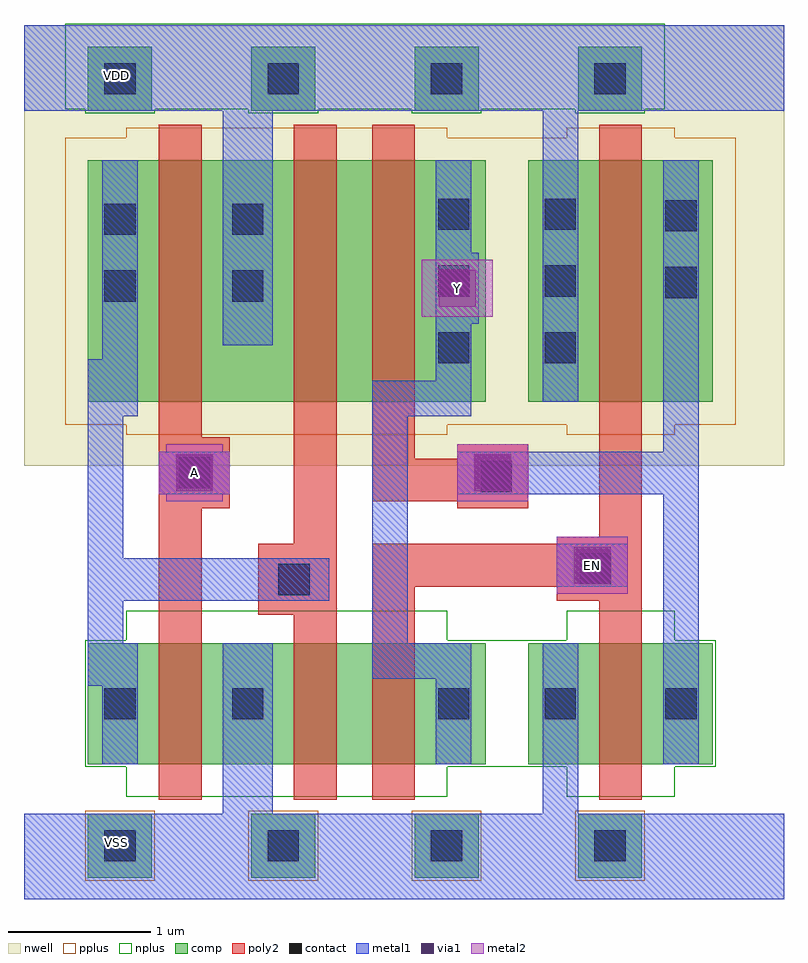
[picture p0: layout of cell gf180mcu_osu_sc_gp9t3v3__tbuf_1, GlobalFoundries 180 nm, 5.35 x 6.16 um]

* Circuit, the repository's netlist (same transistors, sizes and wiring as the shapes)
* Copyright 2022 Google LLC
*
* Licensed under the Apache License, Version 2.0 (the "License");
* you may not use this file except in compliance with the License.
* You may obtain a copy of the License at
*
*      http://www.apache.org/licenses/LICENSE-2.0
*
* Unless required by applicable law or agreed to in writing, software
* distributed under the License is distributed on an "AS IS" BASIS,
* WITHOUT WARRANTIES OR CONDITIONS OF ANY KIND, either express or implied.
* See the License for the specific language governing permissions and
* limitations under the License.

.inc "/import/yukari1/lrburle/OSU_180/char/techfiles/design.hspice"
.lib "/import/yukari1/lrburle/OSU_180/char/techfiles/sm141064.hspice" typical

.GLOBAL VDD
.GLOBAL VSS

.option scale=0.05u

.subckt gf180mcu_osu_sc_gp9t3v3__tbuf_1 A Y EN
X0 Y a_49_56 a_44_70 VDD pmos_3p3 w=34 l=6
X1 a_49_56 EN VDD VDD pmos_3p3 w=34 l=6
X2 VSS A a_9_19 VSS nmos_3p3 w=17 l=6
X3 VDD A a_9_19 VDD pmos_3p3 w=34 l=6
X4 a_44_19 a_9_19 VSS VSS nmos_3p3 w=17 l=6
X5 a_44_70 a_9_19 VDD VDD pmos_3p3 w=34 l=6
X6 Y EN a_44_19 VSS nmos_3p3 w=17 l=6
X7 a_49_56 EN VSS VSS nmos_3p3 w=17 l=6
.ends

** hspice subcircuit dictionary

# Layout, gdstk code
import gdstk
lib = gdstk.Library(unit=1e-6, precision=1e-09)
def R(c, l, rs):  # rectangles x0, y0, x1, y1
    for r in rs: c.add(gdstk.rectangle(r[:2], r[2:], *l))
def A(c, l, x, y, w, h, nx, ny, dx, dy):  # array of equal rectangles
    R(c, l, [(x+i*dx, y+j*dy, x+i*dx+w, y+j*dy+h) for i in range(nx) for j in range(ny)])
nwell = (21, 0)
comp = (22, 0)
poly2 = (30, 0)
pplus = (31, 0)
nplus = (32, 0)
contact = (33, 0)
metal1 = (34, 0)
via1 = (35, 0)
metal2 = (36, 0)

gf180mcu_osu_sc_gp9t3v3_ = lib.new_cell('gf180mcu_osu_sc_gp9t3v3__tbuf_1')
R(gf180mcu_osu_sc_gp9t3v3_, nwell, [(0,3.05,5.35,6.15)])
A(gf180mcu_osu_sc_gp9t3v3_, comp, 0.45, 0.15, 0.45, 0.45, 4, 2, 1.15, 5.4)
R(gf180mcu_osu_sc_gp9t3v3_, comp, [(0.45,0.95,3.25,1.8), (3.55,0.95,4.85,1.8), (0.45,3.5,3.25,5.2), (3.55,3.5,4.85,5.2)])
R(gf180mcu_osu_sc_gp9t3v3_, poly2, [(0.95,0.7,1.25,2.75), (1.9,0.7,2.2,2), (2.45,0.7,2.75,2.2), (4.05,0.7,4.35,2.1), (1.65,2,2.2,2.5), (3.75,2.1,4.35,2.2), (2.45,2.2,4.35,2.5), (1.9,2.5,2.2,5.45), (3.75,2.5,4.35,2.55), (4.05,2.55,4.35,5.45), (0.95,2.75,1.45,3.25), (3.05,2.75,3.55,2.8), (2.45,2.8,3.55,3.1), (2.45,3.1,2.75,5.45), (3.05,3.1,3.55,3.2), (0.95,3.25,1.25,5.45)])
A(gf180mcu_osu_sc_gp9t3v3_, pplus, 0.43, 0.13, 0.49, 0.49, 4, 1, 1.15, 0)
R(gf180mcu_osu_sc_gp9t3v3_, pplus, [(0.72,3.27,2.98,3.34), (3.82,3.27,4.58,3.34), (0.29,3.34,5.01,5.36), (0.72,5.36,2.98,5.43), (3.82,5.36,4.58,5.43)])
A(gf180mcu_osu_sc_gp9t3v3_, nplus, 0.43, 5.53, 0.49, 0.03, 4, 1, 1.15, 0)
R(gf180mcu_osu_sc_gp9t3v3_, nplus, [(0.72,0.72,2.98,0.93), (3.82,0.72,4.58,0.93), (0.43,0.93,4.87,1.82), (0.72,1.82,2.98,2.03), (3.82,1.82,4.58,2.03), (0.29,5.56,4.51,6.16)])
A(gf180mcu_osu_sc_gp9t3v3_, contact, 0.565, 0.265, 0.22, 0.22, 4, 2, 1.15, 5.4)
A(gf180mcu_osu_sc_gp9t3v3_, contact, 2.915, 3.77, 0.22, 0.22, 1, 3, 0, 0.47)
A(gf180mcu_osu_sc_gp9t3v3_, contact, 3.665, 3.77, 0.22, 0.22, 1, 3, 0, 0.47)
R(gf180mcu_osu_sc_gp9t3v3_, contact, [(0.565,1.265,0.785,1.485), (1.465,1.265,1.685,1.485), (2.915,1.265,3.135,1.485), (3.665,1.265,3.885,1.485), (4.515,1.265,4.735,1.485), (1.79,2.14,2.01,2.36), (3.915,2.215,4.135,2.435), (3.215,2.865,3.435,3.085), (1.09,2.89,1.31,3.11), (0.565,4.205,0.785,4.425), (1.465,4.205,1.685,4.425), (4.515,4.23,4.735,4.45), (0.565,4.675,0.785,4.895), (1.465,4.675,1.685,4.895), (4.515,4.7,4.735,4.92)])
R(gf180mcu_osu_sc_gp9t3v3_, metal1, [(0,0,5.35,0.6), (1.4,0.6,1.75,1.8), (3.65,0.6,3.9,1.8), (0.55,0.95,0.8,1.5), (2.9,0.95,3.15,1.55), (4.5,0.95,4.75,2.85), (0.45,1.5,0.8,1.8), (2.45,1.55,3.15,1.8), (0.45,1.8,0.7,2.1), (2.45,1.8,2.7,3.4), (0.45,2.1,2.15,2.4), (3.75,2.2,4.25,2.5), (0.45,2.4,0.7,3.4), (0.95,2.85,1.45,3.15), (3.05,2.85,4.75,3.15), (4.5,3.15,4.75,5.2), (0.45,3.4,0.8,3.8), (2.45,3.4,3.15,3.65), (3.65,3.5,3.9,5.55), (2.9,3.65,3.15,4.05), (0.55,3.8,0.8,5.2), (1.4,3.9,1.75,5.55), (2.9,4.05,3.2,4.55), (2.9,4.55,3.15,5.2), (0,5.55,5.35,6.15)])
R(gf180mcu_osu_sc_gp9t3v3_, via1, [(3.87,2.22,4.13,2.48), (1.07,2.87,1.33,3.13), (3.17,2.87,3.43,3.13), (2.92,4.17,3.18,4.43)])
R(gf180mcu_osu_sc_gp9t3v3_, metal2, [(3.75,2.15,4.25,2.55), (1,2.8,1.4,2.85), (3.05,2.8,3.55,3.2), (0.95,2.85,1.45,3.15), (1,3.15,1.4,3.2), (2.8,4.1,3.3,4.5)])
gf180mcu_osu_sc_gp9t3v3_.add(gdstk.Label('VDD', (0.65,5.8), layer=34, texttype=0))
gf180mcu_osu_sc_gp9t3v3_.add(gdstk.Label('VSS', (0.65,0.4), layer=34, texttype=0))
gf180mcu_osu_sc_gp9t3v3_.add(gdstk.Label('A', (1.2,3), layer=36, texttype=10))
gf180mcu_osu_sc_gp9t3v3_.add(gdstk.Label('Y', (3.05,4.3), layer=36, texttype=10))
gf180mcu_osu_sc_gp9t3v3_.add(gdstk.Label('EN', (4,2.35), layer=36, texttype=10))

lib.write_gds('gf180mcu_osu_sc_gp9t3v3__tbuf_1.gds')
